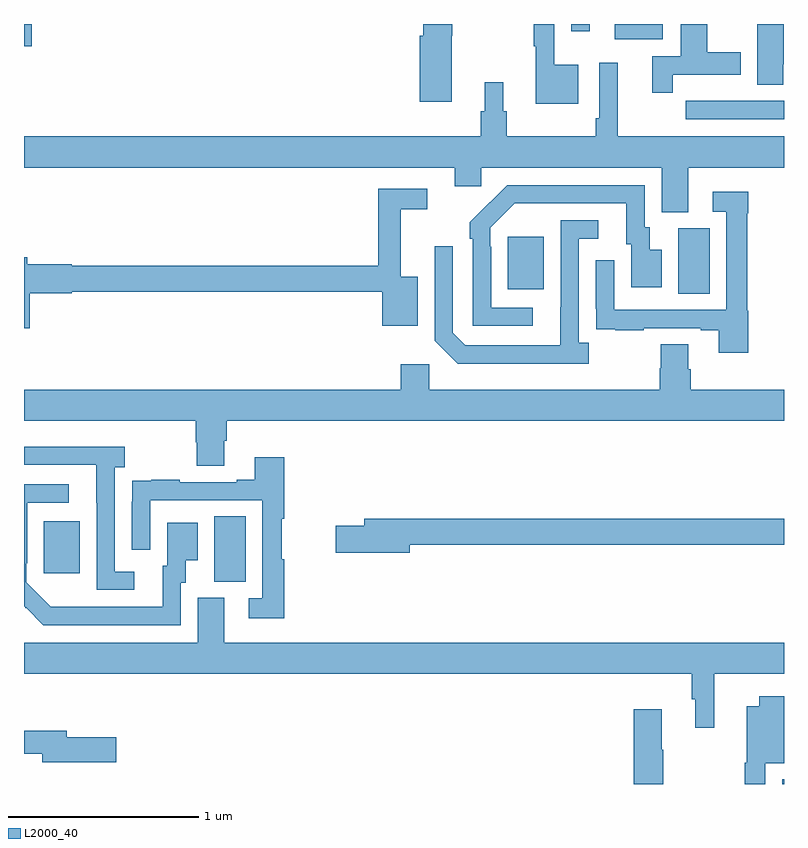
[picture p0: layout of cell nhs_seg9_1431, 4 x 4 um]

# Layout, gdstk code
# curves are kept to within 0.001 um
import gdstk
lib = gdstk.Library(unit=1e-6, precision=1e-09)
def R(c, l, rs):  # rectangles x0, y0, x1, y1
    for r in rs: c.add(gdstk.rectangle(r[:2], r[2:], *l))
def P(c, l, *ps):  # polygons
    for p in ps: c.add(gdstk.Polygon(p, *l))
L2000_40 = (2000, 40)

nhs_seg9_1431 = lib.new_cell('nhs_seg9_1431')
R(nhs_seg9_1431, L2000_40, [(194.991,1202.5,195,1202.524), (192.002,1203.565,192.166,1203.908), (191.105,1203.609,191.293,1203.883), (194.444,1205.08,194.608,1205.424), (193.547,1205.105,193.735,1205.38), (191,1206.382,191.041,1206.5), (194.108,1206.419,194.362,1206.5), (193.881,1206.462,193.978,1206.5)])
P(nhs_seg9_1431, L2000_40, [(194.414,1206.234),(194.773,1206.234),(194.773,1206.351),(194.596,1206.351),(194.596,1206.5),(194.456,1206.5),(194.456,1206.33),(194.306,1206.33),(194.306,1206.138),(194.414,1206.138)],
  [(194.997,1206.289),(194.998,1206.289),(194.998,1206.5),(194.858,1206.5),(194.858,1206.181),(194.997,1206.181)],
  [(193.918,1206.286),(193.791,1206.286),(193.791,1206.5),(193.683,1206.5),(193.683,1206.382),(193.694,1206.382),(193.694,1206.08),(193.918,1206.08)],
  [(193.252,1206.438),(193.254,1206.438),(193.254,1206.5),(193.1,1206.5),(193.1,1206.438),(193.082,1206.438),(193.082,1206.09),(193.252,1206.09)],
  [(193.405,1205.908),(191,1205.908),(191,1205.744),(193.268,1205.744),(193.268,1205.646),(193.407,1205.646),(193.407,1205.744),(194.357,1205.744),(194.357,1205.509),(194.497,1205.509),(194.497,1205.744),(195,1205.744),(195,1205.908),(194.126,1205.908),(194.126,1206.295),(194.028,1206.295),(194.028,1206.004),(194.008,1206.004),(194.008,1205.908),(193.541,1205.908),(193.541,1206.042),(193.522,1206.042),(193.522,1206.193),(193.424,1206.193),(193.424,1206.042),(193.405,1206.042)],
  [(195,1206.096),(194.762,1206.096),(194.762,1206.097),(194.596,1206.097),(194.596,1206.096),(194.484,1206.096),(194.484,1206),(195,1206)],
  [(193.678,1205.007),(193.458,1205.007),(193.458,1205.327),(193.455,1205.327),(193.455,1205.427),(193.584,1205.556),(194.171,1205.556),(194.171,1205.34),(194.195,1205.34),(194.195,1205.115),(194.356,1205.115),(194.356,1205.311),(194.293,1205.311),(194.293,1205.43),(194.268,1205.43),(194.268,1205.652),(193.544,1205.652),(193.347,1205.457),(193.347,1205.369),(193.362,1205.369),(193.362,1204.911),(193.678,1204.911)],
  [(191.03,1205.084),(191.25,1205.084),(191.25,1205.092),(192.885,1205.092),(192.885,1204.913),(193.072,1204.913),(193.072,1205.17),(192.983,1205.17),(192.983,1205.526),(193.123,1205.526),(193.123,1205.634),(192.865,1205.634),(192.865,1205.228),(191.25,1205.228),(191.25,1205.236),(191.017,1205.236),(191.017,1205.272),(191,1205.272),(191,1204.899),(191.03,1204.899)],
  [(194.813,1204.992),(194.806,1204.992),(194.806,1205.504),(194.813,1205.504),(194.813,1205.617),(194.625,1205.617),(194.625,1205.511),(194.697,1205.511),(194.697,1204.995),(194.106,1204.995),(194.106,1205.257),(194.01,1205.257),(194.01,1205.002),(194.011,1205.002),(194.011,1204.893),(194.113,1204.893),(194.113,1204.887),(194.261,1204.887),(194.261,1204.899),(194.561,1204.899),(194.561,1204.887),(194.657,1204.887),(194.657,1204.77),(194.813,1204.77)],
  [(193.972,1204.822),(193.92,1204.822),(193.92,1205.37),(194.023,1205.37),(194.023,1205.466),(193.824,1205.466),(193.823,1204.809),(193.323,1204.809),(193.257,1204.875),(193.257,1205.329),(193.161,1205.329),(193.161,1204.833),(193.282,1204.712),(193.972,1204.712)],
  [(192.055,1204.306),(192.068,1204.306),(192.068,1204.412),(195,1204.412),(195,1204.576),(194.51,1204.576),(194.51,1204.682),(194.497,1204.682),(194.497,1204.814),(194.35,1204.814),(194.35,1204.689),(194.345,1204.689),(194.345,1204.576),(193.134,1204.576),(193.134,1204.708),(192.983,1204.708),(192.983,1204.576),(191,1204.576),(191,1204.412),(191.903,1204.412),(191.903,1204.299),(191.908,1204.299),(191.908,1204.174),(192.055,1204.174)],
  [(191.581,1203.618),(191.478,1203.618),(191.478,1204.166),(191.53,1204.166),(191.53,1204.276),(191,1204.276),(191,1204.179),(191.381,1204.179),(191.381,1203.979),(191.382,1203.979),(191.382,1203.522),(191.581,1203.522)],
  [(192.371,1203.684),(192.356,1203.684),(192.356,1203.896),(192.371,1203.896),(192.371,1204.219),(192.215,1204.219),(192.215,1204.102),(192.119,1204.102),(192.119,1204.089),(191.819,1204.089),(191.819,1204.102),(191.671,1204.102),(191.671,1204.095),(191.569,1204.095),(191.569,1203.986),(191.568,1203.986),(191.568,1203.732),(191.664,1203.732),(191.664,1203.993),(192.255,1203.993),(192.255,1203.477),(192.183,1203.477),(192.183,1203.372),(192.371,1203.372)],
  [(191.826,1203.558),(191.851,1203.558),(191.851,1203.677),(191.914,1203.677),(191.914,1203.874),(191.753,1203.874),(191.753,1203.648),(191.729,1203.648),(191.729,1203.432),(191.142,1203.433),(191.013,1203.561),(191.013,1203.661),(191.016,1203.661),(191.016,1203.981),(191.236,1203.981),(191.236,1204.077),(191,1204.077),(191,1203.436),(191.01,1203.426),(191.011,1203.427),(191.102,1203.336),(191.826,1203.336)],
  [(193.03,1203.76),(195,1203.76),(195,1203.896),(192.791,1203.896),(192.791,1203.86),(192.642,1203.86),(192.642,1203.718),(193.03,1203.718)],
  [(194.634,1203.08),(195,1203.08),(195,1203.244),(192.055,1203.244),(192.055,1203.48),(191.915,1203.48),(191.915,1203.244),(191,1203.244),(191,1203.08),(194.515,1203.08),(194.515,1202.946),(194.534,1202.946),(194.534,1202.796),(194.634,1202.796)],
  [(194.901,1202.609),(195,1202.609),(195,1202.962),(194.87,1202.962),(194.87,1202.908),(194.804,1202.908),(194.804,1202.613),(194.793,1202.613),(194.793,1202.5),(194.901,1202.5)],
  [(194.364,1202.68),(194.356,1202.68),(194.356,1202.893),(194.21,1202.893),(194.21,1202.5),(194.364,1202.5)],
  [(191.485,1202.745),(191.224,1202.745),(191.224,1202.779),(191,1202.779),(191,1202.658),(191.096,1202.658),(191.096,1202.615),(191.485,1202.615)])

lib.write_gds('nhs_seg9_1431.gds')
